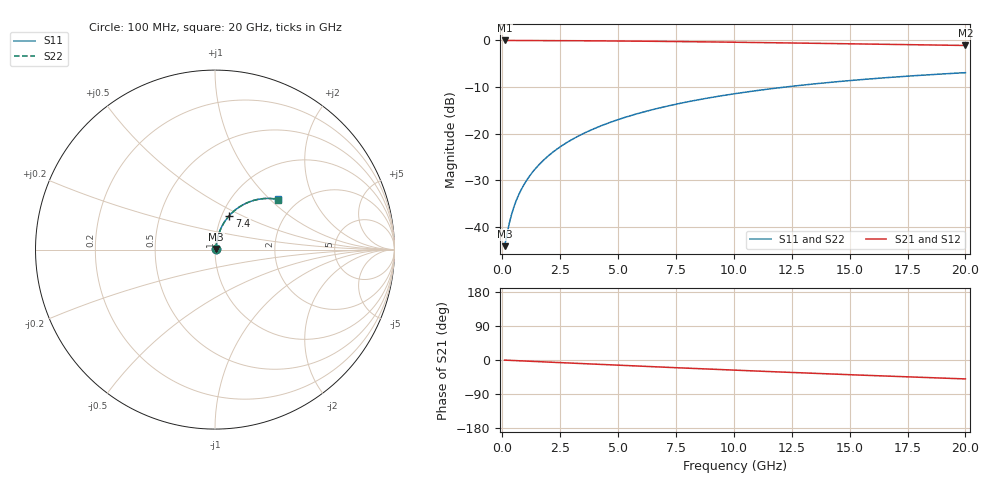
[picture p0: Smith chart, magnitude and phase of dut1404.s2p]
! Touchstone file exported from HFSS 2026.1.0
!  File:  C:/ffzhzh/LocalFiles/Ansys_Project_Files/temp_train_TMRDL_1404_1783166432_18472.aedt
!  Generated:  08:01:46 PM Jul  4, 2026
!  Design:  TMRDL
!  Project:  temp_train_TMRDL_1404_1783166432_18472
! Variables:
!  h_bsmrdl = 2um
!  h_ox = 20um
!  h_rdl = 5um
!  h_sub = 80um
!  h_tmrdl = 2.72um
!  h_tsv = 80um
!  h_via = 3um
!  l_bsmrdl = 300um
!  l_sub = 1145.43um
!  l_tmrdl = 745.43um
!  m_sub = 200um
!  pitch = 42.68um
!  r_tsv = 6um
!  s_tmrdl = 10um
!  w_bsmrdl = 18um
!  w_sub = 500um
!  w_tmrdl = 18.49um
!  x_tsv_center1 = 754.675um
!  x_tsv_center2 = 1072.675um
!  x_tsv_center3 = 1836.595um
!  x_tsv_center4 = 2154.595um
!  x_tsv_center5 = 2918.515um
!  x_tsv_center6 = 3236.515um
# GHz S MA R 50.000000
! Terminal data exported
! Port[1] = TM_RDL1_1_T1
! Port[2] = TM_RDL1_1_T2
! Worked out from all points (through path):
!   200 points, 100 MHz to 20 GHz, reference 50 ohm
!   highest |S21| = -0.05 dB at 100 MHz (marker M1); lowest = -1.1 dB at 20 GHz (marker M2)
!   group delay of S21, straight-line fit = 6.95 ps
!   lowest |S11| = -44.1 dB at 100 MHz (marker M3), VSWR 1.01, Z = 50.5 + j0.318 ohm
!   |S11| at or under -10 dB: start of sweep to 12.24 GHz
!   |S22| runs from -44.1 to -6.9 dB; largest |S21 - S12| = 2.2e-15
!   S11 on the Smith chart (normalised r, x): 100 MHz: 1.01, +0.01; 7.4 GHz: 1.08, +0.43; 20 GHz: 1.60, +1.12
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0.1  0.006268 30.1  0.9946 -0.3  0.9946 -0.3  0.006268 30.1
! Gamma 0 0 0 0
! Port Impedance 50 0 50 0
0.3  0.01097 57.7  0.9942 -0.9  0.9942 -0.9  0.01097 57.7
0.4  0.01369 63.2  0.994 -1.2  0.994 -1.2  0.01369 63.2
0.5  0.01644 66.8  0.9938 -1.4  0.9938 -1.4  0.01644 66.8
0.6  0.01921 69.3  0.9936 -1.7  0.9936 -1.7  0.01921 69.3
0.8  0.02474 72.5  0.9932 -2.3  0.9932 -2.3  0.02474 72.5
1.1  0.03308 75.1  0.9927 -3.1  0.9927 -3.1  0.03308 75.1
1.3  0.03867 76.1  0.9924 -3.6  0.9924 -3.6  0.03867 76.1
1.6  0.04708 77.0  0.9919 -4.5  0.9919 -4.5  0.04708 77.0
2.1  0.06115 77.4  0.991 -5.8  0.991 -5.8  0.06115 77.4
2.7  0.07801 77.1  0.9896 -7.5  0.9896 -7.5  0.07802 77.1
3.5  0.1004 76.0  0.9873 -9.6  0.9873 -9.6  0.1004 76.0
4.2  0.1197 74.6  0.9849 -11.5  0.9849 -11.5  0.1197 74.6
5  0.1415 72.9  0.9816 -13.7  0.9816 -13.7  0.1415 72.9
5.9  0.1655 70.9  0.9774 -16.1  0.9774 -16.1  0.1655 70.8
6.8  0.189 68.7  0.9727 -18.5  0.9727 -18.5  0.189 68.7
7.4  0.2043 67.3  0.9693 -20.1  0.9693 -20.1  0.2043 67.2
8.7  0.2364 64.1  0.9614 -23.4  0.9614 -23.4  0.2364 64.1
10.1  0.2693 60.7  0.9521 -27.0  0.9521 -27.0  0.2693 60.7
13.4  0.3397 52.9  0.9281 -35.0  0.9281 -35.0  0.3397 52.9
16.7  0.3998 45.5  0.9032 -42.7  0.9032 -42.7  0.3998 45.4
20  0.4498 38.4  0.8791 -49.9  0.8791 -49.9  0.4499 38.3
